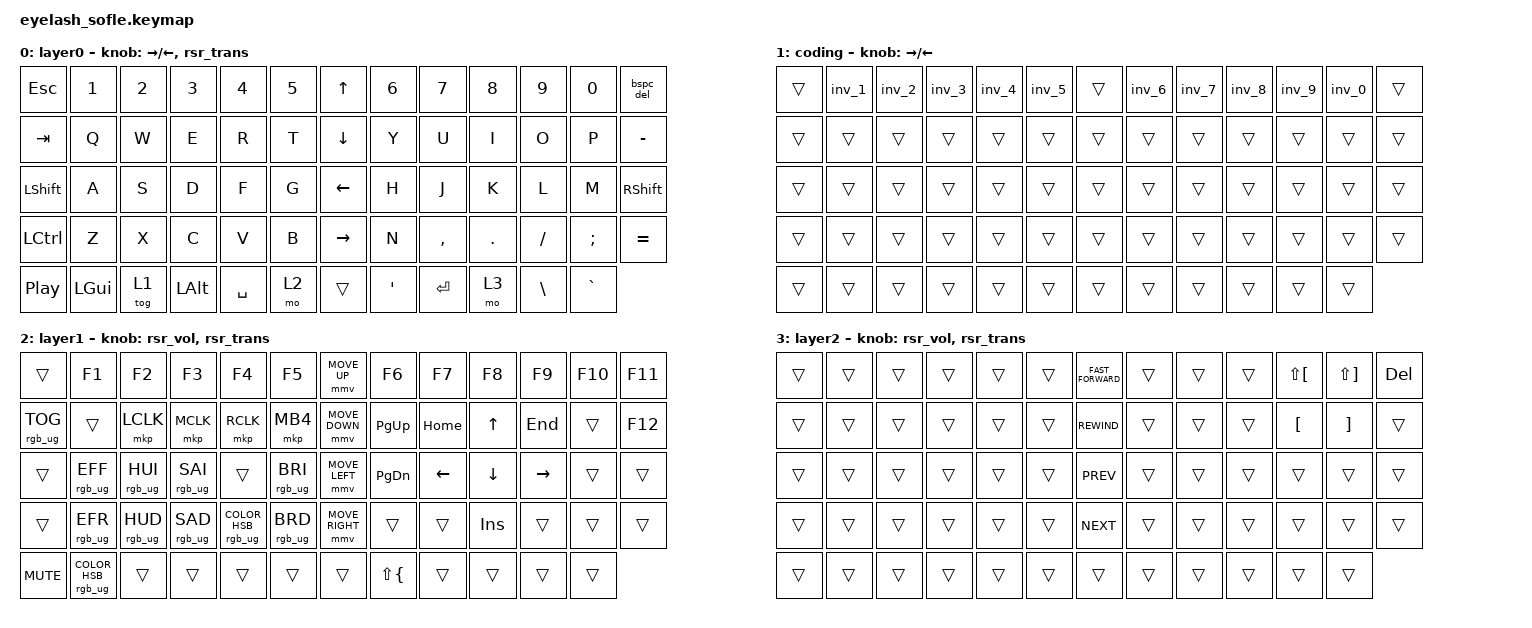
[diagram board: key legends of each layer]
#include <input/processors.dtsi>
#include <zephyr/dt-bindings/input/input-event-codes.h>
#include <behaviors/runtime-sensor-rotate.dtsi>
#include <behaviors.dtsi>
#include <dt-bindings/zmk/keys.h>
#include <dt-bindings/zmk/pointing.h>
#include <dt-bindings/zmk/rgb.h>

/ {
    zip_scroll_scaler: zip_scroll_scaler {
        compatible = "zmk,input-processor-scaler";
        #input-processor-cells = <2>;
        type = <INPUT_EV_REL>;
        codes = <INPUT_REL_WHEEL INPUT_REL_HWHEEL>;
        track-remainders;
    };
};

&mmv_input_listener { input-processors = <&zip_xy_scaler 2 1>; };

&msc_input_listener { input-processors = <&zip_scroll_scaler 2 1>; };

&msc {
    acceleration-exponent = <0>;      // 0
    time-to-max-speed-ms = <0>;       // 300
    delay-ms = <0>;                   // 0
};

&mmv {
    time-to-max-speed-ms = <400>;
    acceleration-exponent = <1>;
};

&soft_off { hold-time-ms = <2000>; };

/ {
    behaviors {
        rsr_vol: rsr_vol {
            compatible = "zmk,behavior-runtime-sensor-rotate";
            #sensor-binding-cells = <0>;
            tap-ms = <5>;
            cw-binding = <&kp C_VOL_UP>;
            ccw-binding = <&kp C_VOL_DN>;
        };

        rsr_trans: rsr_trans {
            compatible = "zmk,behavior-runtime-sensor-rotate";
            #sensor-binding-cells = <0>;
            tap-ms = <0>;
        };

        bspc_del: bspc_del {
            compatible = "zmk,behavior-mod-morph";
            label = "BACKSPACE + DEL";
            bindings = <&kp BACKSPACE>, <&kp DELETE>;

            #binding-cells = <0>;
            mods = <(MOD_LSFT|MOD_RSFT)>;
        };

        inv_1: inv_1 {
            compatible = "zmk,behavior-mod-morph";
            #binding-cells = <0>;
            bindings = <&kp EXCL>, <&kp N1>;

            mods = <(MOD_LSFT|MOD_RSFT)>;
        };

        inv_2: inv_2 {
            compatible = "zmk,behavior-mod-morph";
            #binding-cells = <0>;
            bindings = <&kp AT>, <&kp N2>;

            mods = <(MOD_LSFT|MOD_RSFT)>;
        };

        inv_3: inv_3 {
            compatible = "zmk,behavior-mod-morph";
            #binding-cells = <0>;
            bindings = <&kp HASH>, <&kp N3>;

            mods = <(MOD_LSFT|MOD_RSFT)>;
        };

        inv_4: inv_4 {
            compatible = "zmk,behavior-mod-morph";
            #binding-cells = <0>;
            bindings = <&kp DLLR>, <&kp N4>;

            mods = <(MOD_LSFT|MOD_RSFT)>;
        };

        inv_5: inv_5 {
            compatible = "zmk,behavior-mod-morph";
            #binding-cells = <0>;
            bindings = <&kp PRCNT>, <&kp N5>;

            mods = <(MOD_LSFT|MOD_RSFT)>;
        };

        inv_6: inv_6 {
            compatible = "zmk,behavior-mod-morph";
            #binding-cells = <0>;
            bindings = <&kp CARET>, <&kp N6>;

            mods = <(MOD_LSFT|MOD_RSFT)>;
        };

        inv_7: inv_7 {
            compatible = "zmk,behavior-mod-morph";
            #binding-cells = <0>;
            bindings = <&kp AMPS>, <&kp N7>;

            mods = <(MOD_LSFT|MOD_RSFT)>;
        };

        inv_8: inv_8 {
            compatible = "zmk,behavior-mod-morph";
            #binding-cells = <0>;
            bindings = <&kp STAR>, <&kp N8>;

            mods = <(MOD_LSFT|MOD_RSFT)>;
        };

        inv_9: inv_9 {
            compatible = "zmk,behavior-mod-morph";
            #binding-cells = <0>;
            bindings = <&kp LPAR>, <&kp N9>;

            mods = <(MOD_LSFT|MOD_RSFT)>;
        };

        inv_0: inv_0 {
            compatible = "zmk,behavior-mod-morph";
            #binding-cells = <0>;
            bindings = <&kp RPAR>, <&kp N0>;

            mods = <(MOD_LSFT|MOD_RSFT)>;
        };
    };

    macros {
        shift_MB3: shift_MB3 {
            compatible = "zmk,behavior-macro";
            #binding-cells = <0>;
            bindings =
                <&macro_press>,
                <&kp LEFT_SHIFT>,
                <&macro_press>,
                <&mkp MB3>,
                <&macro_pause_for_release>,
                <&macro_release>,
                <&mkp MB3 &kp LEFT_SHIFT>;

            label = "SHIFT_MB3";
        };
    };

    combos { compatible = "zmk,combos"; };

    keymap {
        compatible = "zmk,keymap";

        layer_0 {
            bindings = <
&kp ESC           &kp N1        &kp N2  &kp N3        &kp N4     &kp N5    &kp UP_ARROW     &kp N6    &kp N7     &kp N8      &kp N9         &kp N0         &bspc_del
&kp TAB           &kp Q         &kp W   &kp E         &kp R      &kp T     &kp DOWN_ARROW   &kp Y     &kp U      &kp I       &kp O          &kp P          &kp MINUS
&kp LEFT_SHIFT    &kp A         &kp S   &kp D         &kp F      &kp G     &kp LEFT_ARROW   &kp H     &kp J      &kp K       &kp L          &kp M          &kp RIGHT_SHIFT
&kp LCTRL         &kp Z         &kp X   &kp C         &kp V      &kp B     &kp RIGHT_ARROW  &kp N     &kp COMMA  &kp PERIOD  &kp SLASH      &kp SEMICOLON  &kp EQUAL
&kp C_PLAY_PAUSE  &kp LEFT_GUI  &tog 1  &kp LEFT_ALT  &kp SPACE  &mo 2     &trans           &kp APOS  &kp ENTER  &mo 3       &kp BACKSLASH  &kp GRAVE
            >;

            sensor-bindings =
                <&inc_dec_kp RIGHT_ARROW LEFT_ARROW>,
                <&rsr_trans>;

            display-name = "layer0";
        };

        coding {
            bindings = <
&trans  &inv_1  &inv_2  &inv_3  &inv_4  &inv_5    &trans  &inv_6  &inv_7  &inv_8  &inv_9  &inv_0  &trans
&trans  &trans  &trans  &trans  &trans  &trans    &trans  &trans  &trans  &trans  &trans  &trans  &trans
&trans  &trans  &trans  &trans  &trans  &trans    &trans  &trans  &trans  &trans  &trans  &trans  &trans
&trans  &trans  &trans  &trans  &trans  &trans    &trans  &trans  &trans  &trans  &trans  &trans  &trans
&trans  &trans  &trans  &trans  &trans  &trans    &trans  &trans  &trans  &trans  &trans  &trans
            >;

            display-name = "coding";
            sensor-bindings = <&inc_dec_kp RIGHT LEFT>;
        };

        layer_1 {
            bindings = <
&trans           &kp F1                            &kp F2           &kp F3           &kp F4                         &kp F5             &mmv MOVE_UP     &kp F6              &kp F7    &kp F8      &kp F9     &kp F10  &kp F11
&rgb_ug RGB_TOG  &trans                            &mkp LCLK        &mkp MCLK        &mkp RCLK                      &mkp MB4           &mmv MOVE_DOWN   &kp PG_UP           &kp HOME  &kp UP      &kp END    &trans   &kp F12
&trans           &rgb_ug RGB_EFF                   &rgb_ug RGB_HUI  &rgb_ug RGB_SAI  &trans                         &rgb_ug RGB_BRI    &mmv MOVE_LEFT   &kp PG_DN           &kp LEFT  &kp DOWN    &kp RIGHT  &trans   &trans
&trans           &rgb_ug RGB_EFR                   &rgb_ug RGB_HUD  &rgb_ug RGB_SAD  &rgb_ug RGB_COLOR_HSB(50,0,3)  &rgb_ug RGB_BRD    &mmv MOVE_RIGHT  &trans              &trans    &kp INSERT  &trans     &trans   &trans
&kp C_MUTE       &rgb_ug RGB_COLOR_HSB(270,100,3)  &trans           &trans           &trans                         &trans             &trans           &kp LS(LEFT_BRACE)  &trans    &trans      &trans     &trans
            >;

            display-name = "layer1";
            sensor-bindings = <&rsr_vol &rsr_trans>;
        };

        layer_2 {
            bindings = <
&trans  &trans  &trans  &trans  &trans  &trans    &kp C_FAST_FORWARD  &trans  &trans  &trans  &kp LS(LEFT_BRACKET)  &kp LS(RIGHT_BRACKET)  &kp DEL
&trans  &trans  &trans  &trans  &trans  &trans    &kp C_REWIND        &trans  &trans  &trans  &kp LEFT_BRACKET      &kp RIGHT_BRACKET      &trans
&trans  &trans  &trans  &trans  &trans  &trans    &kp C_PREV          &trans  &trans  &trans  &trans                &trans                 &trans
&trans  &trans  &trans  &trans  &trans  &trans    &kp C_NEXT          &trans  &trans  &trans  &trans                &trans                 &trans
&trans  &trans  &trans  &trans  &trans  &trans    &trans              &trans  &trans  &trans  &trans                &trans
            >;

            display-name = "layer2";
            sensor-bindings = <&rsr_vol &rsr_trans>;
        };
    };
};
